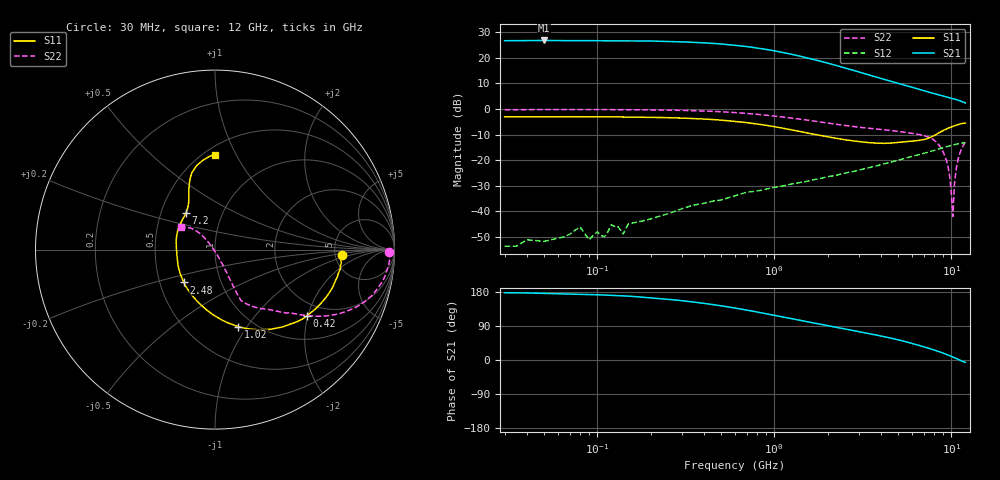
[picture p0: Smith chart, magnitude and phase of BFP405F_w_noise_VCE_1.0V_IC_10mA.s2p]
! Infineon Technologies  Discrete & RF Semiconductors
! BFP405F
! VCE =  1.0 V,  IC =  10 mA
! Common Emitter S-Parameters:  Nov 2015
# GHz  S  MA  R  50
!  f  S11  S21  S12  S22
! GHz  MAG  ANG  MAG  ANG  MAG  ANG  MAG  ANG
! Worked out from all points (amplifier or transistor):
!   239 points, 30 MHz to 12 GHz, reference 50 ohm
!   highest |S21| = 26.7 dB at 50 MHz (marker M1)
!   |S21| within 3 dB of that: start of sweep to 807.2 MHz
!   unconditionally stable (mu >= 1): 2.099 GHz to end of sweep
!   at 300 MHz: K = 0.24, MSG = 32.6 dB, |S12| = -38.9 dB
!   at 1.88 GHz: K = 0.94, MSG = 22.6 dB, |S12| = -26.9 dB
!   at 12 GHz: K = 1.40, MAG = 3.9 dB, |S12| = -13.1 dB
!   lowest NFmin = 1.67 dB at 450 MHz
!   S11 on the Smith chart (normalised r, x): 30 MHz: 5.71, -0.70; 420 MHz: 1.61, -1.97; 1.02 GHz: 0.85, -0.91; 2.48 GHz: 0.66, -0.26; 7.2 GHz: 0.67, +0.30; 12 GHz: 0.56, +0.83
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0.03  0.7056 -2.5  21.49 177.5  0.0021 155.4  0.967 -0.8
0.05  0.7026 -4.7  21.75 175.8  0.0026 80.1  0.9714 -1.7
0.085  0.705 -7.7  21.52 173.0  0.0037 107.3  0.9733 -3.4
0.14  0.6981 -12.7  21.43 169.3  0.0036 70.6  0.9718 -5.7
0.24  0.6796 -21.2  20.87 161.1  0.0086 87.3  0.9538 -9.9
0.3  0.6642 -26.2  20.46 156.6  0.0113 76.8  0.9399 -12.2
0.42  0.6309 -35.8  19.37 148.2  0.015 76.2  0.9088 -16.5
0.6  0.5725 -48.8  17.52 136.9  0.0202 73.4  0.8518 -22.0
0.8  0.5091 -61.4  15.47 126.5  0.025 67.7  0.7871 -26.7
1.02  0.4471 -73.4  13.47 117.1  0.0299 65.3  0.723 -30.7
1.3  0.3805 -87.3  11.36 107.3  0.0352 63.8  0.6539 -34.5
1.64  0.3254 -101.9  9.396 98.4  0.041 62.4  0.5874 -37.9
2.02  0.2849 -117.2  7.803 90.2  0.048 61.1  0.5301 -41.8
2.48  0.2522 -133.4  6.392 82.2  0.0553 61.0  0.4792 -45.5
3.3  0.2242 -156.7  4.802 71.1  0.0692 58.9  0.4247 -50.8
4.5  0.2163 175.8  3.514 58.3  0.0908 55.1  0.383 -56.1
7.2  0.2604 128.1  2.208 32.9  0.1397 44.0  0.2935 -63.3
9.2  0.3952 111.2  1.752 16.3  0.1794 33.7  0.1198 -63.0
9.8  0.4345 107.9  1.654 11.3  0.1912 30.3  0.0468 -65.2
10.2  0.4583 105.1  1.594 7.9  0.1985 27.8  0.008 170.7
10.6  0.4813 101.8  1.534 4.3  0.2051 25.2  0.0603 131.9
12  0.5287 89.8  1.314 -6.3  0.2218 17.9  0.2278 146.2
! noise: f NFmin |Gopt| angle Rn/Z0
0.45  1.67  0.21  5  0.32
0.9  1.68  0.19  9  0.33
1.5  1.74  0.17  15  0.25
1.9  1.78  0.16  21  0.29
2.4  1.91  0.14  28  0.36
3  1.99  0.12  42  0.35
3.5  2.04  0.1  48  0.34
4.5  2.21  0.08  46  0.2
5.5  2.42  0.04  37  0.06
